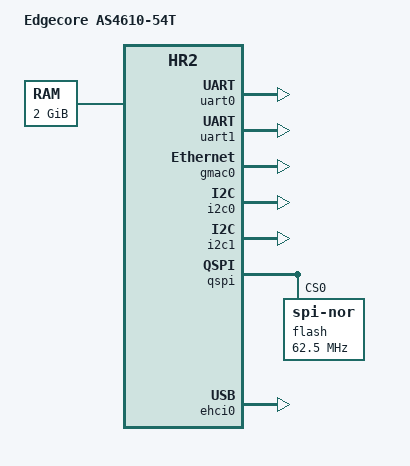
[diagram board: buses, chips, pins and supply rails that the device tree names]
// SPDX-License-Identifier: (GPL-2.0-only OR BSD-2-Clause)
/*
 * Edgecore AS4610-54T (Accton AS4610-54) — board device tree.
 *
 * Facts and their sources, per docs/as4610-kernel-port.md:
 *   - DRAM at 0x60000000, kernel load/entry 0x61008000: the salvaged
 *     vendor uImage's header and embedded config, three ways.
 *   - Console ttyS0 @ 115200: read off the box under ONIE.
 *   - The SoC layout: bcm-hx4.dtsi next to this file.
 *
 * The last compatible is load-bearing: mainline's mach-bcm matches
 * "brcm,hr2", so this file boots a stock ARCH_BCM_HR2 kernel with no
 * out-of-tree machine code at all.
 */

/dts-v1/;

#include "bcm-hx4.dtsi"

/ {
	model = "Edgecore AS4610-54T";
	compatible = "accton,as4610-54", "brcm,hx4", "brcm,hr2";

	aliases {
		serial0 = &uart0;
		serial1 = &uart1;
		ethernet0 = &gmac0;
	};

	chosen {
		stdout-path = "serial0:115200n8";
		/*
		 * U-Boot's bootargs override this; it exists so a bare
		 * `bootm` with no arguments still lands on the console.
		 * The vendor ran maxcpus=2; ours holds at 1 until the
		 * SMP enable-method question is answered at the bench
		 * (bcm-hx4.dtsi, cpus).
		 */
		bootargs = "console=ttyS0,115200n8 maxcpus=1";
	};

	/*
	 * 2 GB. The vendor cmdline said mem=2000M — its SDK reserved the
	 * top 48 MB for DMA outside the kernel. Hemlock's BDE allocates
	 * its dmasize=8M through the kernel instead, so the full 2 GB is
	 * the intended starting point; trim here if the first bench boot
	 * says the vendor had a second reason.
	 */
	memory@60000000 {
		device_type = "memory";
		reg = <0x60000000 0x80000000>;
	};
};

&uart0 {
	status = "okay";
};

&uart1 {
	status = "okay";
};

/*
 * Management port (Management1 / eth0): gmac0, SGMII to an external
 * PHY on the internal MDIO. The PHY address is a first-boot fact —
 * `mdiobus_scan` will say — so no phy-handle is pinned yet and bgmac
 * falls back to its fixed-link/scan behaviour. Pin it once known.
 */
&gmac0 {
	status = "okay";
};

/*
 * The two SMBus roots the platform manifest hangs everything off.
 * Deliberately childless: pmon instantiates the CPLD, mux and sensors
 * from platform.toml at runtime, and the RTC stays out (dead battery
 * wedges the bus; see the platform README).
 *
 * Mainline names these adapters "Broadcom iProc (i2c@38000)" and
 * "(i2c@3b000)" — platform.toml's [[hardware.i2c.root]] adapter values
 * must change to match when this kernel lands.
 */
&i2c0 {
	status = "okay";
};

&i2c1 {
	status = "okay";
};

&qspi {
	status = "okay";

	flash@0 {
		compatible = "jedec,spi-nor";
		reg = <0>;
		spi-max-frequency = <62500000>;
		#address-cells = <1>;
		#size-cells = <1>;

		/*
		 * ONIE's own layout: uboot, shmoo, uboot-env, onie.
		 * Offsets to be copied from this box's /proc/mtd (gate 1
		 * capture) before fw_setenv can find the environment —
		 * partitions are deliberately absent until they are
		 * facts, because guessing an offset for uboot-env means
		 * fw_setenv writing into U-Boot itself.
		 */
	};
};

/* The NOS storage: a USB-attached disk. See the PHY note in the dtsi. */
&ehci0 {
	status = "okay";
};
